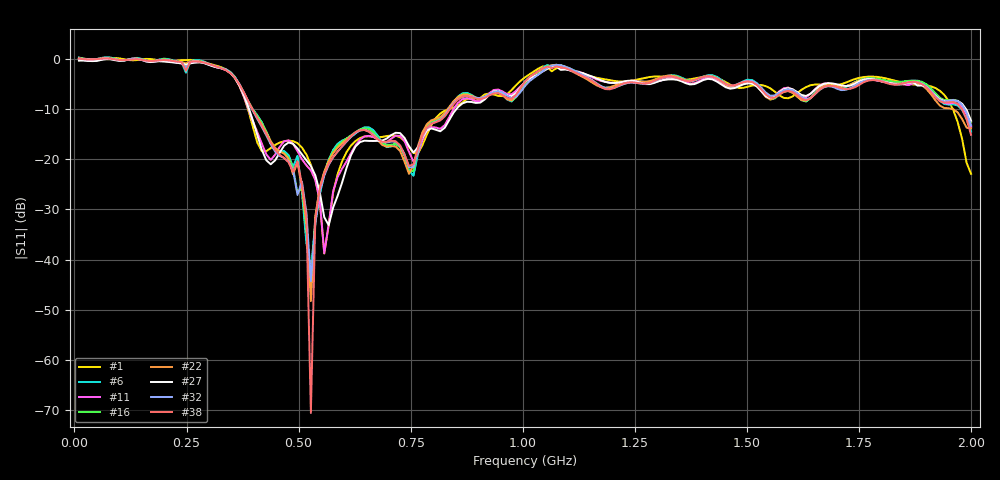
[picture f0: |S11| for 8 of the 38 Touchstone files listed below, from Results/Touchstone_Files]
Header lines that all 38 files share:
!Created with skrf (http://scikit-rf.org).
# Hz S RI R 50.0
!freq ReS11 ImS11
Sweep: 10 MHz to 2 GHz
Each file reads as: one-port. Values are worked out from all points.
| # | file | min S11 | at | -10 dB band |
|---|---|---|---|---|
| 1 | ANT1487H_P2.s1p | -38.8 dB | 557.2 MHz | 449.6 MHz wide |
| 2 | ANT1488_P1.s1p | -36.5 dB | 527.4 MHz | 442.9 MHz wide |
| 3 | ANT1488_P2.s1p | -40.4 dB | 567.2 MHz | 458.3 MHz wide |
| 4 | ANT1489H_P1.s1p | -44.9 dB | 537.4 MHz | 433.3 MHz wide |
| 5 | ANT1489H_P2.s1p | -35.1 dB | 756.2 MHz | 432.4 MHz wide |
| 6 | ANT1500H_P1.s1p | -42.1 dB | 527.4 MHz | 439.7 MHz wide |
| 7 | ANT1500H_P2.s1p | -39.1 dB | 557.2 MHz | 457.8 MHz wide |
| 8 | ANT1501H_P1.s1p | -36.0 dB | 527.4 MHz | 440.5 MHz wide |
| 9 | ANT1501H_P2.s1p | -27.7 dB | 557.2 MHz | 455.4 MHz wide |
| 10 | ANT1502H_P1.s1p | -42.1 dB | 527.4 MHz | 438.6 MHz wide |
| 11 | ANT1502H_P2.s1p | -38.8 dB | 557.2 MHz | 457.8 MHz wide |
| 12 | ANT1503H_P1.s1p | -49.4 dB | 527.4 MHz | 438.9 MHz wide |
| 13 | ANT1503H_P2.s1p | -50.7 dB | 557.2 MHz | 455.9 MHz wide |
| 14 | ANT1504HRetest_P1.s1p | -33.9 dB | 517.5 MHz | 443.3 MHz wide |
| 15 | ANT1504HRetest_P2.s1p | -30.1 dB | 557.2 MHz | 462.6 MHz wide |
| 16 | ANT1505H_P1.s1p | -44.8 dB | 527.4 MHz | 437.8 MHz wide |
| 17 | ANT1505H_P2.s1p | -36.8 dB | 567.2 MHz | 461 MHz wide |
| 18 | ANT1506H_P1.s1p | -37.7 dB | 527.4 MHz | 441.3 MHz wide |
| 19 | ANT1506H_P2.s1p | -32.0 dB | 537.4 MHz | 441.2 MHz wide |
| 20 | ANT1507H_P1.s1p | -49.0 dB | 527.4 MHz | 437.6 MHz wide |
| 21 | ANT1507H_P2.s1p | -40.3 dB | 557.2 MHz | 457.1 MHz wide |
| 22 | ANT1508H_P1.s1p | -48.3 dB | 527.4 MHz | 436.7 MHz wide |
| 23 | ANT1508H_P2.s1p | -40.3 dB | 557.2 MHz | 457.7 MHz wide |
| 24 | ANT1509H_P1.s1p | -38.9 dB | 527.4 MHz | 439.8 MHz wide |
| 25 | ANT1509H_P2.s1p | -35.2 dB | 557.2 MHz | 460.2 MHz wide |
| 26 | ANT1510H_P1.s1p | -39.2 dB | 527.4 MHz | 440 MHz wide |
| 27 | ANT1510H_P2.s1p | -33.1 dB | 567.2 MHz | 462.8 MHz wide |
| 28 | ANT1511H_P1.s1p | -42.2 dB | 527.4 MHz | 438.8 MHz wide |
| 29 | ANT1511H_P2.s1p | -36.4 dB | 557.2 MHz | 460 MHz wide |
| 30 | ANT1512H_P1.s1p | -47.1 dB | 527.4 MHz | 440.5 MHz wide |
| 31 | ANT1512H_P2.s1p | -30.5 dB | 597 MHz | 474.7 MHz wide |
| 32 | ANT1513H_P1.s1p | -44.3 dB | 527.4 MHz | 440.1 MHz wide |
| 33 | ANT1513H_P2.s1p | -27.0 dB | 547.3 MHz | 454.5 MHz wide |
| 34 | ANT1514H_P1.s1p | -46.2 dB | 527.4 MHz | 439.6 MHz wide |
| 35 | ANT1514H_P2.s1p | -37.0 dB | 567.2 MHz | 459.5 MHz wide |
| 36 | ANT1515H_P1.s1p | -42.2 dB | 527.4 MHz | 437.1 MHz wide |
| 37 | ANT1515H_P2.s1p | -34.9 dB | 557.2 MHz | 459.6 MHz wide |
| 38 | ANT1516H_P1.s1p | -70.6 dB | 527.4 MHz | 441.2 MHz wide |
